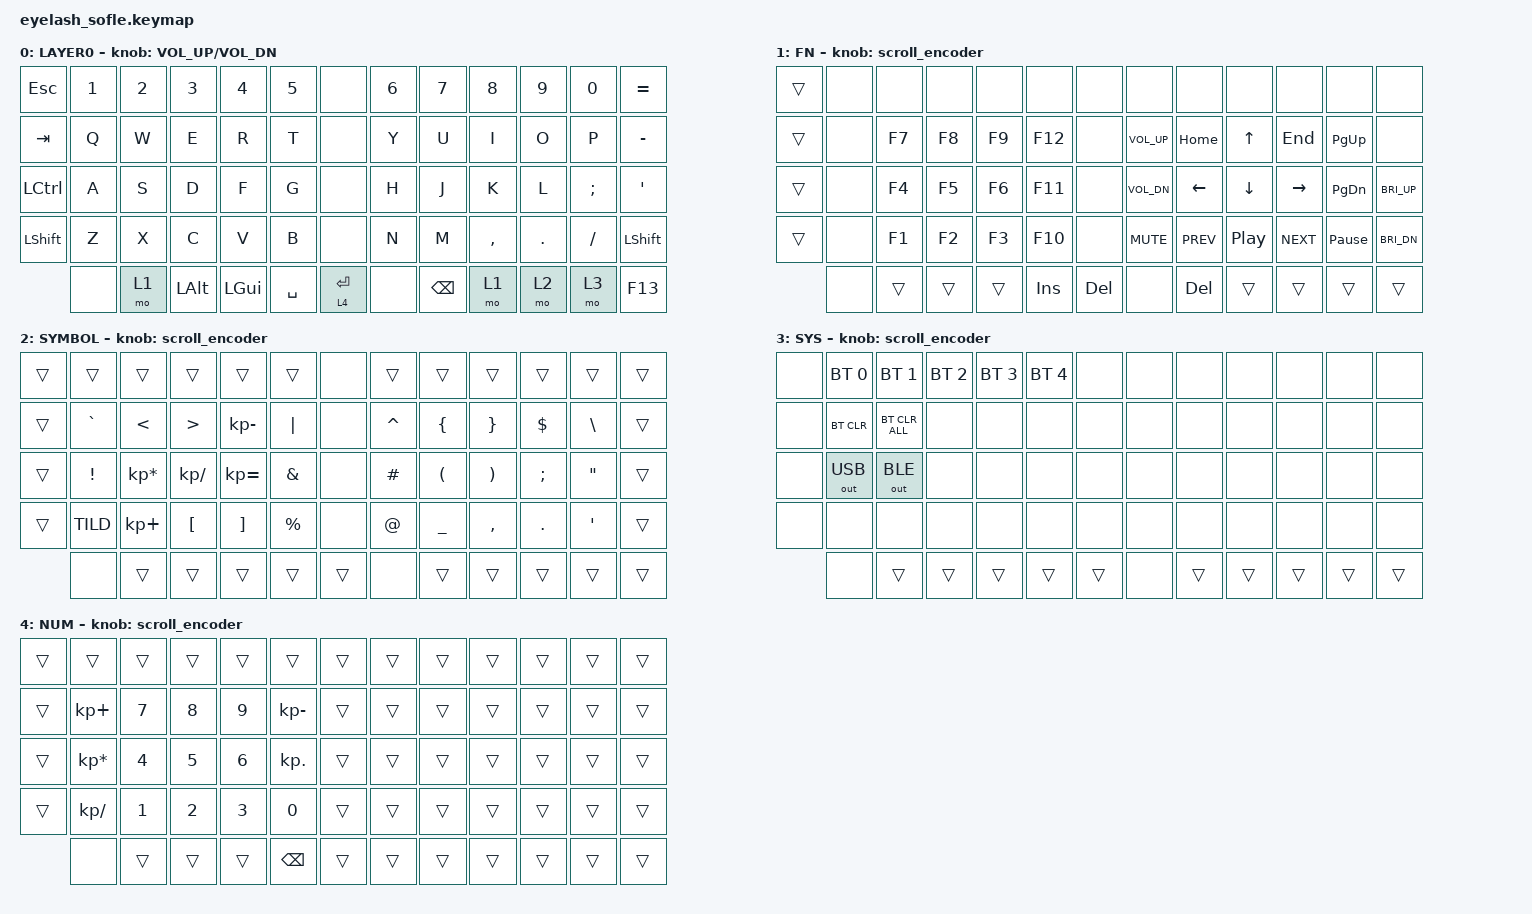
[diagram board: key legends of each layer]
#define ZMK_POINTING_DEFAULT_MOVE_VAL 1200  // 600
#define ZMK_POINTING_DEFAULT_SCRL_VAL 25   // 10

#include <input/processors.dtsi>
#include <zephyr/dt-bindings/input/input-event-codes.h>
#include <behaviors.dtsi>
#include <dt-bindings/zmk/bt.h>
#include <dt-bindings/zmk/keys.h>
#include <dt-bindings/zmk/outputs.h>
#include <dt-bindings/zmk/pointing.h>
#include <dt-bindings/zmk/rgb.h>

&mmv_input_listener { input-processors = <&zip_xy_scaler 2 1>; };

&msc_input_listener { input-processors = <&zip_scroll_scaler 2 1>; };

&msc {
    acceleration-exponent = <1>;      // 0
    time-to-max-speed-ms = <100>;       // 300
    delay-ms = <0>;                   // 0
};

&mmv {
    time-to-max-speed-ms = <500>;
    acceleration-exponent = <1>;
    trigger-period-ms = <16>;
};

&soft_off { hold-time-ms = <2000>; };

/ {
    scroll_encoder: scroll_encoder {
        compatible = "zmk,behavior-sensor-rotate";
        #sensor-binding-cells = <0>;
        bindings = <&msc SCRL_DOWN>, <&msc SCRL_UP>;

        tap-ms = <100>;
    };

    behaviors {
    };

    combos { /* QSZ | PL/ */
        compatible = "zmk,combos";

        softoff {
            bindings = <&soft_off>;
            key-positions = <14 28 40>;
        };

        softoff2 {
            bindings = <&soft_off>;
            key-positions = <24 36 50>;
        };
    };

    keymap {
        compatible = "zmk,keymap";

        layer0 {
            bindings = <
&kp ESC     &kp N1     &kp N2      &kp N3    &kp N4    &kp N5                   &none              &kp N6    &kp N7   &kp N8     &kp N9      &kp N0      &kp EQUAL
&kp TAB     &kp Q      &kp W       &kp E     &kp R     &kp T                    &none              &kp Y     &kp U    &kp I      &kp O       &kp P       &kp MINUS
&kp LCTRL   &kp A      &kp S       &kp D     &kp F     &kp G                    &none              &kp H     &kp J    &kp K      &kp L       &kp SEMI    &kp SQT
&kp LSHFT   &kp Z      &kp X       &kp C     &kp V     &kp B                    &none              &kp N     &kp M    &kp COMMA  &kp DOT     &kp FSLH    &kp LSHFT
            &none      &mo 1       &kp LALT  &kp LGUI  &kp SPACE  &lt 4 ENTER   &none  &kp BSPC    &mo 1     &mo 2    &mo 3      &kp F13
            >;

            sensor-bindings = <&inc_dec_kp C_VOLUME_UP C_VOL_DN>;
            display-name = "LAYER0";
        };

        layer_1 {
            bindings = <
&trans  &none   &none   &none   &none   &none              &none            &none         &none         &none       &none         &none            &none
&trans  &none   &kp F7  &kp F8  &kp F9  &kp F12            &none            &kp C_VOL_UP  &kp HOME      &kp UP      &kp END       &kp PG_UP        &none
&trans  &none   &kp F4  &kp F5  &kp F6  &kp F11            &none            &kp C_VOL_DN  &kp LEFT      &kp DOWN    &kp RIGHT     &kp PG_DN        &kp C_BRI_UP
&trans  &none   &kp F1  &kp F2  &kp F3  &kp F10            &none            &kp C_MUTE    &kp C_PREV    &kp C_PP    &kp C_NEXT    &kp PAUSE_BREAK  &kp C_BRI_DN
        &none   &trans  &trans  &trans  &kp INS  &kp DEL   &none   &kp DEL  &trans        &trans        &trans      &trans
            >;

            display-name = "FN";
            sensor-bindings = <&scroll_encoder>;
        };

        /* fn */
/*        layer_1 {
            bindings = <
&kp GRAVE   &kp F1           &kp F2          &kp F3           &kp F4           &kp F5             &mmv MOVE_UP     &kp F6           &kp F7           &kp F8      &kp F9     &kp F10           &trans
&trans      &kp GRAVE        &mkp LCLK       &mkp MCLK        &mkp RCLK        &mkp MB4           &mmv MOVE_DOWN   &kp PG_UP        &kp END          &kp UP      &kp HOME   &kp MINUS         &kp EQUAL
&trans      &kp TILDE        &trans          &trans           &trans           &mkp MB5           &mmv MOVE_LEFT   &kp PG_DN        &kp LEFT         &kp DOWN    &kp RIGHT  &kp LEFT_BRACKET  &kp RIGHT_BRACKET
&trans      &rgb_ug RGB_OFF  &rgb_ug RGB_ON  &rgb_ug RGB_EFF  &rgb_ug RGB_EFR  &rgb_ug RGB_SPI    &mmv MOVE_RIGHT  &rgb_ug RGB_BRI  &rgb_ug RGB_BRD  &kp INSERT  &kp F11    &kp F12           &trans
&kp C_MUTE  &trans           &trans          &trans           &trans           &trans             &mkp LCLK        &kp DEL           &trans           &trans      &trans     &trans
            >;

            display-name = "layer1";
            sensor-bindings = <&scroll_encoder>;
        };
*/
        /* symbol layer */
        layer_2 {
            bindings = <
&trans  &trans     &trans           &trans        &trans        &trans             &none          &trans     &trans     &trans     &trans     &trans      &trans
&trans  &kp GRAVE  &kp LT           &kp GT        &kp KP_MINUS  &kp PIPE           &none          &kp CARET  &kp LBRC   &kp RBRC   &kp DLLR   &kp BSLH    &trans
&trans  &kp EXCL   &kp KP_ASTERISK  &kp KP_SLASH  &kp KP_EQUAL  &kp AMPS           &none          &kp HASH   &kp LPAR   &kp RPAR   &kp SEMI   &kp DQT     &trans
&trans  &kp TILD   &kp KP_PLUS      &kp LBKT      &kp RBKT      &kp PRCNT          &none          &kp AT     &kp UNDER  &kp COMMA  &kp DOT    &kp SQT     &trans
        &none      &trans           &trans        &trans        &trans     &trans  &none  &trans  &trans     &trans     &trans     &trans
            >;

            display-name = "SYMBOL";
            sensor-bindings = <&scroll_encoder>;
        };

        /* hw settings */
        layer_3 {
            bindings = <
&none  &bt BT_SEL 0  &bt BT_SEL 1    &bt BT_SEL 2  &bt BT_SEL 3  &bt BT_SEL 4           &none          &none  &none  &none      &none      &none        &none
&none  &bt BT_CLR    &bt BT_CLR_ALL  &none         &none         &none        &none          &none  &none  &none      &none      &none        &none
&none  &out OUT_USB  &out OUT_BLE    &none         &none         &none        &none          &none  &none  &none      &none      &none        &none
&none  &none         &none           &none         &none         &none        &none          &none  &none  &none      &none      &none        &none
       &none         &trans          &trans        &trans        &trans          &trans &none  &trans  &trans &trans &trans     &trans
            >;

            display-name = "SYS";
            sensor-bindings = <&scroll_encoder>;
        };

        layer_4 {
            bindings = <
&trans  &trans       &trans  &trans  &trans  &trans              &trans          &trans  &trans  &trans  &trans  &trans  &trans
&trans  &kp KP_PLUS     &kp N7  &kp N8  &kp N9  &kp KP_MINUS        &trans          &trans  &trans  &trans  &trans  &trans  &trans
&trans  &kp KP_MULTIPLY &kp N4  &kp N5  &kp N6  &kp KP_DOT          &trans          &trans  &trans  &trans  &trans  &trans  &trans
&trans  &kp KP_DIVIDE   &kp N1  &kp N2  &kp N3  &kp N0              &trans          &trans  &trans  &trans  &trans  &trans  &trans
        &none        &trans  &trans  &trans  &kp BSPC  &trans    &trans  &trans  &trans  &trans  &trans  &trans
            >;

            display-name = "NUM";
            sensor-bindings = <&scroll_encoder>;
        };
    };
};
